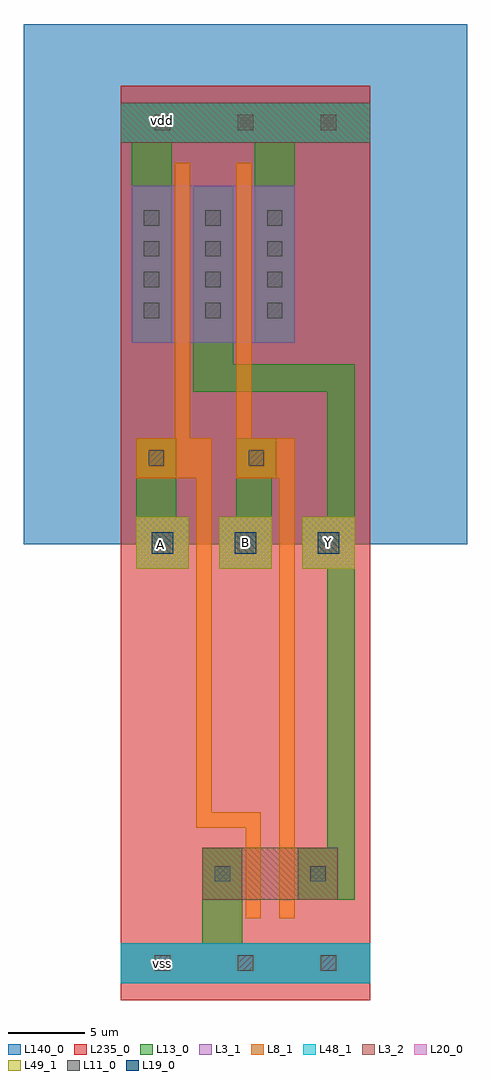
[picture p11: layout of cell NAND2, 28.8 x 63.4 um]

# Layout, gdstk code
import gdstk
lib = gdstk.Library(unit=1e-6, precision=1e-09)
def R(c, l, rs):  # rectangles x0, y0, x1, y1
    for r in rs: c.add(gdstk.rectangle(r[:2], r[2:], *l))
def A(c, l, x, y, w, h, nx, ny, dx, dy):  # array of equal rectangles
    R(c, l, [(x+i*dx, y+j*dy, x+i*dx+w, y+j*dy+h) for i in range(nx) for j in range(ny)])
def P(c, l, *ps):  # polygons
    for p in ps: c.add(gdstk.Polygon(p, *l))
L3_1 = (3, 1)
L3_2 = (3, 2)
L8_1 = (8, 1)
L11_0 = (11, 0)
L13_0 = (13, 0)
L19_0 = (19, 0)
L20_0 = (20, 0)
L48_1 = (48, 1)
L49_1 = (49, 1)
L140_0 = (140, 0)
L235_0 = (235, 0)

nand2 = lib.new_cell('NAND2')
R(nand2, L3_1, [(0,1.1,16.2,3.7), (0.7,42.7,7.3,52.9), (4.7,42.7,11.3,52.9)])
R(nand2, L3_2, [(5.3,6.5,14.1,9.9), (0,55.7,16.2,58.3)])
P(nand2, L8_1, [(8.1,5.3),(8.1,11.2),(4.9,11.2),(4.9,33.9),(1,33.9),(1,36.5),(3.5,36.5),(3.5,54.4),(4.5,54.4),(4.5,36.5),(5.9,36.5),(5.9,12.2),(9.1,12.2),(9.1,5.3)],
  [(10.3,5.3),(10.3,13),(10.3,33.9),(7.5,33.9),(7.5,36.5),(7.5,54.4),(8.5,54.4),(8.5,36.5),(11.3,36.5),(11.3,12),(11.3,5.3)])
A(nand2, L11_0, 1.5, 44.3, 1, 1, 3, 4, 4, 2)
R(nand2, L11_0, [(2.2,1.9,3.2,2.9), (7.6,1.9,8.6,2.9), (7.6,1.9,8.6,2.9), (13,1.9,14,2.9), (6.1,7.7,7.1,8.7), (12.3,7.7,13.3,8.7), (1.8,34.7,2.8,35.7), (8.3,34.7,9.3,35.7), (2.2,56.5,3.2,57.5), (2.2,56.5,3.2,57.5), (7.6,56.5,8.6,57.5), (7.6,56.5,8.6,57.5), (7.6,56.5,8.6,57.5), (7.6,56.5,8.6,57.5), (13,56.5,14,57.5)])
R(nand2, L13_0, [(5.3,3.7,7.9,9.9), (1,28,4.4,31.4), (1,28,4.4,31.4), (6.4,28,9.8,31.4), (6.4,28,9.8,31.4), (11.8,28,15.2,31.4), (1,31.4,3.6,36.5), (4.7,39.5,7.3,52.9), (0.7,42.7,3.3,55.7), (8.7,42.7,11.3,55.7), (0,55.7,16.2,58.3)])
P(nand2, L13_0, [(11.5,6.5),(11.5,9.9),(13.4,9.9),(13.4,28),(11.8,28),(11.8,31.4),(13.4,31.4),(13.4,39.5),(4.7,39.5),(4.7,41.3),(15.2,41.3),(15.2,6.5)],
  [(0,1.1),(0,3.7),(0.7,3.7),(3.3,3.7),(16.2,3.7),(16.2,1.1)],
  [(7.5,31.4),(7.5,36.5),(10.1,36.5),(10.1,33.9),(9.8,33.9),(9.8,31.4)])
A(nand2, L19_0, 2, 29, 1.4, 1.4, 3, 1, 5.4, 0)
A(nand2, L20_0, 1, 28, 3.4, 3.4, 3, 1, 5.4, 0)
R(nand2, L48_1, [(0,1.1,16.2,3.7), (0,55.7,16.2,58.3)])
A(nand2, L49_1, 1, 28, 3.4, 3.4, 3, 1, 5.4, 0)
R(nand2, L140_0, [(-6.3,29.6,22.5,63.4)])
R(nand2, L235_0, [(0,0,16.2,59.4)])
nand2.add(gdstk.Label('A', (2.6,29.6), layer=49, texttype=0))
nand2.add(gdstk.Label('Y', (13.5,29.7), layer=49, texttype=0))
nand2.add(gdstk.Label('B', (8.1,29.7), layer=49, texttype=0))
nand2.add(gdstk.Label('vss', (2.7,2.4), layer=48, texttype=0))
nand2.add(gdstk.Label('vdd', (2.7,57.1), layer=48, texttype=0))

lib.write_gds('NAND2.gds')
